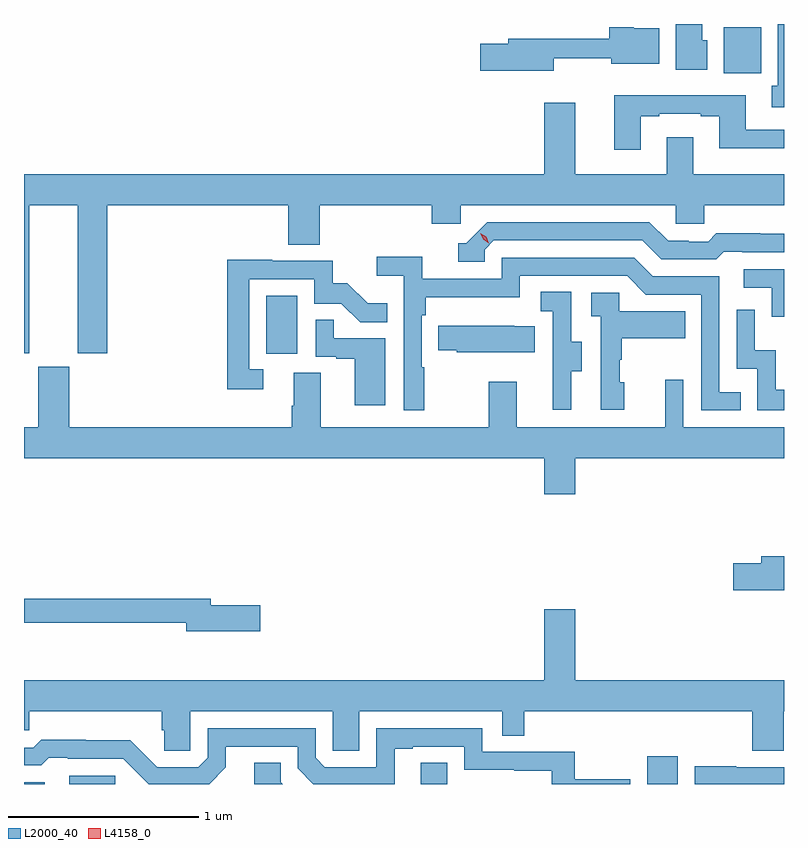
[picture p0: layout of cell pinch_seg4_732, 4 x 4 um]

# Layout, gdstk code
import gdstk
lib = gdstk.Library(unit=1e-6, precision=1e-09)
def R(c, l, rs):  # rectangles x0, y0, x1, y1
    for r in rs: c.add(gdstk.rectangle(r[:2], r[2:], *l))
def P(c, l, *ps):  # polygons
    for p in ps: c.add(gdstk.Polygon(p, *l))
L2000_40 = (2000, 40)
L4158_0 = (4158, 0)

pinch_seg4_732 = lib.new_cell('pinch_seg4_732')
R(pinch_seg4_732, L2000_40, [(857.574,828.406,857.682,828.414), (857.811,828.406,858.054,828.45), (859.661,828.406,859.801,828.518), (860.855,828.406,861.016,828.553), (858.848,830.67,859.012,830.977), (861.257,832.148,861.454,832.39)])
P(pinch_seg4_732, L2000_40, [(861.169,832.32),(861.145,832.32),(861.145,832.406),(861.005,832.406),(861.005,832.166),(861.169,832.166)],
  [(861.574,832.406),(861.542,832.406),(861.542,832.082),(861.509,832.082),(861.509,831.969),(861.574,831.969)],
  [(860.362,832.225),(860.666,832.225),(860.666,832.196),(860.917,832.196),(860.917,832.384),(860.784,832.384),(860.784,832.39),(860.654,832.39),(860.654,832.328),(860.123,832.328),(860.123,832.302),(859.974,832.302),(859.974,832.16),(860.362,832.16)],
  [(860.821,831.921),(860.917,831.921),(860.917,831.933),(861.137,831.933),(861.137,831.921),(861.233,831.921),(861.233,831.752),(861.574,831.752),(861.574,831.849),(861.373,831.849),(861.373,832.03),(860.681,832.03),(860.681,831.744),(860.821,831.744)],
  [(857.602,831.452),(857.858,831.452),(857.858,830.673),(858.011,830.673),(858.011,831.452),(858.965,831.452),(858.965,831.244),(859.13,831.244),(859.13,831.452),(859.721,831.452),(859.721,831.354),(859.872,831.354),(859.872,831.452),(861.003,831.452),(861.003,831.354),(861.153,831.354),(861.153,831.452),(861.574,831.452),(861.574,831.616),(861.097,831.616),(861.097,831.811),(860.957,831.811),(860.957,831.616),(860.476,831.616),(860.476,831.991),(860.312,831.991),(860.312,831.616),(857.574,831.616),(857.574,830.673),(857.602,830.673)],
  [(859.998,831.219),(860.046,831.267),(860.829,831.267),(860.928,831.168),(861.217,831.168),(861.256,831.207),(861.355,831.207),(861.355,831.204),(861.574,831.204),(861.574,831.301),(861.45,831.301),(861.45,831.304),(861.217,831.304),(861.175,831.261),(861.072,831.261),(861.072,831.264),(860.965,831.264),(860.866,831.363),(860.013,831.363),(859.902,831.252),(859.859,831.252),(859.859,831.156),(859.998,831.156)],
  [(859.681,830.6),(859.668,830.6),(859.668,830.873),(859.688,830.873),(859.688,830.969),(860.184,830.969),(860.184,831.081),(860.748,831.081),(860.847,830.982),(861.138,830.982),(861.138,830.373),(861.347,830.373),(861.347,830.469),(861.234,830.469),(861.234,831.078),(860.884,831.078),(860.785,831.177),(860.088,831.177),(860.088,831.066),(859.67,831.066),(859.67,831.182),(859.431,831.182),(859.431,831.08),(859.572,831.08),(859.572,830.373),(859.681,830.373)],
  [(858.832,830.589),(858.759,830.589),(858.759,831.063),(859.101,831.063),(859.101,830.934),(859.245,830.934),(859.343,830.836),(859.487,830.836),(859.487,830.935),(859.383,830.935),(859.276,831.042),(859.2,831.042),(859.2,831.159),(858.881,831.159),(858.881,831.164),(858.643,831.164),(858.643,830.484),(858.832,830.484)],
  [(861.574,831.114),(861.363,831.114),(861.363,831.018),(861.51,831.018),(861.51,830.865),(861.574,830.865)],
  [(860.455,830.578),(860.509,830.578),(860.509,830.733),(860.454,830.733),(860.454,830.996),(860.295,830.996),(860.295,830.893),(860.358,830.893),(860.358,830.589),(860.357,830.589),(860.357,830.376),(860.455,830.376)],
  [(860.734,830.52),(860.709,830.52),(860.709,830.639),(860.719,830.639),(860.719,830.753),(861.053,830.753),(861.053,830.893),(860.706,830.893),(860.706,830.991),(860.559,830.991),(860.559,830.867),(860.61,830.867),(860.61,830.376),(860.734,830.376)],
  [(861.574,830.482),(861.53,830.482),(861.53,830.69),(861.42,830.69),(861.42,830.902),(861.324,830.902),(861.324,830.592),(861.432,830.592),(861.432,830.373),(861.574,830.373)],
  [(859.474,830.751),(859.205,830.751),(859.205,830.849),(859.11,830.849),(859.11,830.655),(859.217,830.655),(859.217,830.643),(859.316,830.643),(859.316,830.4),(859.474,830.4)],
  [(860.261,830.815),(860.153,830.815),(860.153,830.818),(859.753,830.818),(859.753,830.689),(859.851,830.689),(859.851,830.678),(860.261,830.678)],
  [(860.476,830.12),(861.574,830.12),(861.574,830.284),(861.045,830.284),(861.045,830.533),(860.948,830.533),(860.948,830.284),(860.167,830.284),(860.167,830.524),(860.02,830.524),(860.02,830.284),(859.135,830.284),(859.135,830.57),(858.995,830.57),(858.995,830.396),(858.983,830.396),(858.983,830.284),(857.812,830.284),(857.812,830.601),(857.648,830.601),(857.648,830.284),(857.574,830.284),(857.574,830.12),(860.312,830.12),(860.312,829.932),(860.476,829.932)],
  [(861.574,829.604),(861.455,829.604),(861.455,829.568),(861.306,829.568),(861.306,829.426),(861.574,829.426)],
  [(858.817,829.346),(858.556,829.346),(858.556,829.382),(857.574,829.382),(857.574,829.254),(858.428,829.254),(858.428,829.211),(858.817,829.211)],
  [(858.45,828.788),(859.2,828.788),(859.2,828.58),(859.339,828.58),(859.339,828.788),(860.091,828.788),(860.091,828.661),(860.207,828.661),(860.207,828.788),(861.407,828.788),(861.407,828.58),(861.572,828.58),(861.572,828.788),(861.574,828.788),(861.574,828.952),(860.476,828.952),(860.476,829.327),(860.312,829.327),(860.312,828.952),(857.574,828.952),(857.574,828.69),(857.601,828.69),(857.601,828.788),(858.299,828.788),(858.299,828.69),(858.313,828.69),(858.313,828.58),(858.45,828.58)],
  [(858.637,828.493),(858.637,828.603),(859.014,828.603),(859.014,828.489),(859.097,828.406),(859.525,828.406),(859.525,828.591),(859.621,828.591),(859.621,828.603),(859.89,828.603),(859.89,828.48),(860.155,828.48),(860.155,828.475),(860.352,828.475),(860.352,828.406),(860.766,828.406),(860.766,828.43),(860.473,828.43),(860.473,828.576),(859.986,828.576),(859.986,828.699),(859.428,828.699),(859.428,828.495),(859.158,828.495),(859.11,828.543),(859.11,828.699),(858.54,828.699),(858.54,828.543),(858.492,828.495),(858.276,828.495),(858.134,828.637),(857.898,828.637),(857.898,828.64),(857.665,828.64),(857.623,828.597),(857.574,828.597),(857.574,828.504),(857.665,828.504),(857.704,828.543),(857.803,828.543),(857.803,828.54),(858.096,828.54),(858.23,828.406),(858.55,828.406)],
  [(858.925,828.416),(858.925,828.518),(858.785,828.518),(858.785,828.406),(858.935,828.406)],
  [(861.574,828.495),(861.323,828.495),(861.323,828.5),(861.105,828.5),(861.105,828.406),(861.574,828.406)])
P(pinch_seg4_732, L4158_0, [(860.021,831.252),(859.991,831.272),(859.976,831.306),(859.976,831.306),(859.976,831.306),(860.006,831.285),(860.021,831.252),(860.021,831.252)])

lib.write_gds('pinch_seg4_732.gds')
